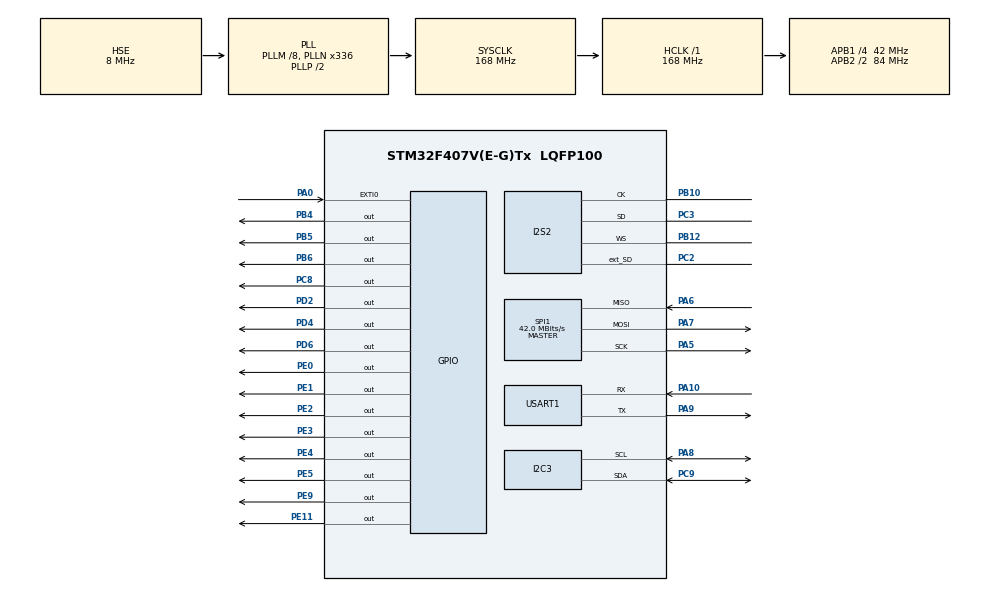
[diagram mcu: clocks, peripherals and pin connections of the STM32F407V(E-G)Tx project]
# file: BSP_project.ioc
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Dma.Request0=USART1_RX
Dma.USART1_RX.0.Direction=DMA_PERIPH_TO_MEMORY
Dma.USART1_RX.0.FIFOMode=DMA_FIFOMODE_DISABLE
Dma.USART1_RX.0.Instance=DMA2_Stream2
Dma.USART1_RX.0.MemDataAlignment=DMA_MDATAALIGN_BYTE
Dma.USART1_RX.0.MemInc=DMA_MINC_ENABLE
Dma.USART1_RX.0.Mode=DMA_CIRCULAR
Dma.USART1_RX.0.PeriphDataAlignment=DMA_PDATAALIGN_BYTE
Dma.USART1_RX.0.PeriphInc=DMA_PINC_DISABLE
Dma.USART1_RX.0.Priority=DMA_PRIORITY_VERY_HIGH
I2C3.I2C_Mode=I2C_Fast
I2S2.AudioFreq=I2S_AUDIOFREQ_16K
I2S2.CPOL=I2S_CPOL_HIGH
I2S2.ErrorAudioFreq=-0.79 %
I2S2.FullDuplexMode=I2S_FULLDUPLEXMODE_ENABLE
I2S2.Instance=SPI$Index
I2S2.Mode=I2S_MODE_MASTER_RX
I2S2.RealAudioFreq=15.873 KHz
I2S2.Standard=I2S_STANDARD_LSB
I2S2.VirtualMode=I2S_MODE_MASTER
Mcu.Family=STM32F4
Mcu.Name=STM32F407V(E-G)Tx
Mcu.Package=LQFP100
NVIC.DMA2_Stream2_IRQn=true\:0\:0\:false\:false\:true\:false\:true
NVIC.EXTI0_IRQn=true\:15\:0\:true\:false\:true\:true\:true
NVIC.PriorityGroup=NVIC_PRIORITYGROUP_4
NVIC.USART1_IRQn=true\:0\:0\:false\:false\:true\:true\:true
PA0-WKUP.Signal=GPXTI0
PA10.Mode=Asynchronous
PA10.Signal=USART1_RX
PA13.Mode=Trace_Asynchronous_SW
PA13.Signal=SYS_JTMS-SWDIO
PA14.Mode=Trace_Asynchronous_SW
PA14.Signal=SYS_JTCK-SWCLK
PA2.Signal=USART2_TX
PA3.Signal=USART2_RX
PA5.Mode=Full_Duplex_Master
PA5.Signal=SPI1_SCK
PA6.Mode=Full_Duplex_Master
PA6.Signal=SPI1_MISO
PA7.Mode=Full_Duplex_Master
PA7.Signal=SPI1_MOSI
PA8.Mode=I2C
PA8.Signal=I2C3_SCL
PA9.Mode=Asynchronous
PA9.Signal=USART1_TX
PB10.Mode=Full_Duplex_Master
PB10.Signal=I2S2_CK
PB12.Mode=Full_Duplex_Master
PB12.Signal=I2S2_WS
PB3.Mode=Trace_Asynchronous_SW
PB3.Signal=SYS_JTDO-SWO
PB4.GPIO_ModeDefaultOutputPP=GPIO_MODE_OUTPUT_PP
PB4.GPIO_PuPd=GPIO_NOPULL
PB4.GPIO_Speed=GPIO_SPEED_FREQ_HIGH
PB4.PinState=GPIO_PIN_RESET
PB4.Signal=GPIO_Output
PB5.GPIO_ModeDefaultOutputPP=GPIO_MODE_OUTPUT_PP
PB5.GPIO_PuPd=GPIO_NOPULL
PB5.GPIO_Speed=GPIO_SPEED_FREQ_HIGH
PB5.PinState=GPIO_PIN_RESET
PB5.Signal=GPIO_Output
PB6.GPIO_ModeDefaultOutputPP=GPIO_MODE_OUTPUT_PP
PB6.GPIO_PuPd=GPIO_NOPULL
PB6.GPIO_Speed=GPIO_SPEED_FREQ_HIGH
PB6.PinState=GPIO_PIN_RESET
PB6.Signal=GPIO_Output
PC2.Mode=Full_Duplex_Master
PC2.Signal=I2S2_ext_SD
PC3.Mode=Full_Duplex_Master
PC3.Signal=I2S2_SD
PC8.GPIO_Speed=GPIO_SPEED_FREQ_MEDIUM
PC8.Signal=GPIO_Output
PC9.Mode=I2C
PC9.Signal=I2C3_SDA
PD2.GPIO_Speed=GPIO_SPEED_FREQ_HIGH
PD2.Signal=GPIO_Output
PD4.GPIO_Speed=GPIO_SPEED_FREQ_HIGH
PD4.Signal=GPIO_Output
PD6.GPIO_Speed=GPIO_SPEED_FREQ_HIGH
PD6.Signal=GPIO_Output
PE0.GPIO_Speed=GPIO_SPEED_FREQ_VERY_HIGH
PE0.Signal=GPIO_Output
PE1.GPIO_Speed=GPIO_SPEED_FREQ_VERY_HIGH
PE1.Signal=GPIO_Output
PE11.GPIO_Speed=GPIO_SPEED_FREQ_HIGH
PE11.PinState=GPIO_PIN_RESET
PE11.Signal=GPIO_Output
PE2.GPIO_Speed=GPIO_SPEED_FREQ_VERY_HIGH
PE2.Signal=GPIO_Output
PE3.Signal=GPIO_Output
PE4.GPIO_Speed=GPIO_SPEED_FREQ_VERY_HIGH
PE4.Signal=GPIO_Output
PE5.GPIO_Speed=GPIO_SPEED_FREQ_VERY_HIGH
PE5.Signal=GPIO_Output
PE9.GPIO_Speed=GPIO_SPEED_FREQ_HIGH
PE9.PinState=GPIO_PIN_RESET
PE9.Signal=GPIO_Output
PH0-OSC_IN.Mode=HSE-External-Oscillator
PH0-OSC_IN.Signal=RCC_OSC_IN
PH1-OSC_OUT.Mode=HSE-External-Oscillator
PH1-OSC_OUT.Signal=RCC_OSC_OUT
ProjectManager.HeapSize=0x3000
ProjectManager.StackSize=0x9000
ProjectManager.TargetToolchain=MDK-ARM V5
RCC.48MHZClocksFreq_Value=84000000
RCC.AHBFreq_Value=168000000
RCC.APB1CLKDivider=RCC_HCLK_DIV4
RCC.APB1Freq_Value=42000000
RCC.APB1TimFreq_Value=84000000
RCC.APB2CLKDivider=RCC_HCLK_DIV2
RCC.APB2Freq_Value=84000000
RCC.APB2TimFreq_Value=168000000
RCC.CortexFreq_Value=168000000
RCC.HCLKFreq_Value=168000000
RCC.HSE_VALUE=8000000
RCC.HSI_VALUE=16000000
RCC.LSE_VALUE=32768
RCC.PLLI2SR=6
RCC.PLLM=8
RCC.PLLN=336
RCC.PLLSourceVirtual=RCC_PLLSOURCE_HSE
RCC.SYSCLKFreq_VALUE=168000000
RCC.SYSCLKSource=RCC_SYSCLKSOURCE_PLLCLK
RCC.VCOOutputFreq_Value=336000000
SPI1.CalculateBaudRate=42.0 MBits/s
SPI1.Direction=SPI_DIRECTION_2LINES
SPI1.Mode=SPI_MODE_MASTER
SPI1.VirtualType=VM_MASTER
USART1.VirtualMode=VM_ASYNC
board=custom

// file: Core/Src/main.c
/* USER CODE BEGIN Header */
/**
  ******************************************************************************
  * @file           : main.c
  * @brief          : Main program body
  ******************************************************************************
  * @attention
  *
  * <h2><center>&copy; Copyright (c) 2021 STMicroelectronics.
  * All rights reserved.</center></h2>
  *
  * This software component is licensed by ST under BSD 3-Clause license,
  * the "License"; You may not use this file except in compliance with the
  * License. You may obtain a copy of the License at:
  *                        opensource.org/licenses/BSD-3-Clause
  *
  ******************************************************************************
  */
/* USER CODE END Header */
#include "main.h"

/* USER CODE BEGIN PD */
#define DISTANCE 12.0f

/* USER CODE END PD */

I2C_HandleTypeDef hi2c3;

I2S_HandleTypeDef hi2s2;

SPI_HandleTypeDef hspi1;

UART_HandleTypeDef huart1;
DMA_HandleTypeDef hdma_usart1_rx;

/* USER CODE BEGIN PV */
__IO uint8_t UserPressButton = 0;

/* Wave Player Pause/Resume Status. Defined as external in waveplayer.c file */
__IO uint32_t PauseResumeStatus = IDLE_STATUS;

/* Counter for User button presses */
__IO uint32_t PressCount = 0;
float record[OUT_BUFFER_SIZE];
float distance[WORD_NUM];
uint8_t my_word;
unsigned char receive_data[6];
dsp_return isVoice, isPass, isFace;

uint32_t nbFrame;
extern const float Word[WORD_NUM][20 * CENTROID];
extern const float HamWindow[256];
extern const float MelFb[20 * 129];
extern const word_t word_id[WORD_NUM];
extern uint32_t AudioTotalSize;
extern const char word_string[][10];

/* USER CODE END PV */

void SystemClock_Config(void);
static void MX_GPIO_Init(void);
static void MX_DMA_Init(void);
static void MX_I2S2_Init(void);
static void MX_SPI1_Init(void);
static void MX_I2C3_Init(void);
static void MX_USART1_UART_Init(void);
/* USER CODE BEGIN PFP */
struct __FILE
{
  int handle;
  /* Whatever you require here. If the only file you are using is */
  /* standard output using printf() for debugging, no file handling */
  /* is required. */
};
/* USER CODE END PFP */

/* USER CODE BEGIN 0 */
int fputc(int ch, FILE *f)
{
  ITM_SendChar(ch); //send method for SWV
  return (ch);
}
/* USER CODE END 0 */

int main(void)
{

  /* MCU Configuration--------------------------------------------------------*/

  /* Reset of all peripherals, Initializes the Flash interface and the Systick. */
  HAL_Init();

  /* USER CODE BEGIN Init */
  BSP_LED_Init(LED3);
  BSP_LED_Init(LED4);
  BSP_LED_Init(LED5);
  BSP_LED_Init(LED6);

  //  MX_TIM1_Init();
  BSP_PB_Init(BUTTON_KEY, BUTTON_MODE_EXTI);
  //	HAL_TIM_PWM_Start (&htim1, TIM_CHANNEL_1);
  //  HAL_TIM_PWM_Start (&htim1, TIM_CHANNEL_2);
  //  HAL_TIM_PWM_Start (&htim1, TIM_CHANNEL_3);

  /* USER CODE END Init */

  /* Configure the system clock */
  SystemClock_Config();

  /* Initialize all configured peripherals */
  MX_GPIO_Init();
  MX_DMA_Init();
  MX_I2S2_Init();
  MX_SPI1_Init();
  MX_I2C3_Init();
  MX_USART1_UART_Init();
  /* USER CODE BEGIN 2 */
  /*init LCD16x2*/
  lcd16x2_init_4bits(GPIOE, GPIO_PIN_0, GPIO_PIN_1,
                     GPIOE, GPIO_PIN_2, GPIO_PIN_3, GPIO_PIN_4, GPIO_PIN_5);
  /*Uart DMA*/
  HAL_UART_Receive_DMA(&huart1, receive_data, 6);
  /*Audio init*/
  if (BSP_AUDIO_IN_Init(DEFAULT_AUDIO_IN_FREQ, DEFAULT_AUDIO_IN_BIT_RESOLUTION, DEFAULT_AUDIO_IN_CHANNEL_NBR) != AUDIO_OK)
  {
    /* Record Error */
    Error_Handler();
  }

  lcd16x2_setCursor(0, 3);
  lcd16x2_printf("DHBK TPHCM");
  lcd16x2_setCursor(1, 2);
  lcd16x2_printf("SYSTEM READY !");
  while (!UserPressButton)
  {
    blink_rgb();
  }
  toggle_leds_rgb(OFF1);
  toggle_leds_rgb(OFF2);
  /* USER CODE END 2 */

  /* Infinite loop */
  while (1)
  {

    /* USER CODE BEGIN 3 */

    UserPressButton = 0;
    lcd16x2_clear();
    lcd16x2_setCursor(0, 2);
    lcd16x2_printf("Recording ...");
    toggle_leds_rgb(OFF1);
    toggle_leds_rgb(OFF2);

    my_word = voice_recognition(distance, DISTANCE * 2, record, &isVoice, &isPass);
    Off_Leds();
    //lcd16x2_clear();
    lcd16x2_setCursor(0, 1);
    lcd16x2_printf("Number: ");
    lcd16x2_setCursor(0, 9);
    lcd16x2_printf(word_string[my_word]);
    /* Toggle LEDs between each Test */
    UserPressButton = 0;

    /*Wait Face security step*/
    while (1)
    {
      if (isFace == DSP_ERROR)
      {
        lcd16x2_clear();
        lcd16x2_setCursor(0, 3);
        lcd16x2_printf("WRONG FACE!");
        lcd16x2_setCursor(1, 0);
        lcd16x2_printf("PLEASE TRY AGAIN");
        while (isFace == DSP_ERROR)
        {
          HAL_Delay(10);
        }
      }
      else if (isFace == DSP_OK)
      {
        break;
      }
      //      HAL_Delay(10);
    };
    //if (isFace != DSP_UNKNOWN) break;

    /*3 step security*/
    if ((isVoice == DSP_OK) && (isPass == DSP_OK) && (isFace == DSP_OK))
    {
      //HAL_GPIO_TogglePin(GPIOD, GPIO_PIN_15);
      lcd16x2_clear();
      lcd16x2_setCursor(0, 1);
      lcd16x2_printf("ACCESS GRANTED!");
      lcd16x2_setCursor(1, 2);
      lcd16x2_printf("Welcome Dat!");
      toggle_relay(RELAY_ON);
    }
    else
    {
      //HAL_GPIO_TogglePin(GPIOD, GPIO_PIN_14);
      lcd16x2_clear();
      lcd16x2_setCursor(0, 3);
      lcd16x2_printf("TRY AGAIN!");
    }
    /*****************************/
    while (!UserPressButton)
    {
      /* code */
    }

    //    Off_Leds();
  }
  /* USER CODE END 3 */
}

void SystemClock_Config(void)
{
  RCC_OscInitTypeDef RCC_OscInitStruct = {0};
  RCC_ClkInitTypeDef RCC_ClkInitStruct = {0};
  RCC_PeriphCLKInitTypeDef PeriphClkInitStruct = {0};

  /** Configure the main internal regulator output voltage
  */
  __HAL_RCC_PWR_CLK_ENABLE();
  __HAL_PWR_VOLTAGESCALING_CONFIG(PWR_REGULATOR_VOLTAGE_SCALE1);
  /** Initializes the RCC Oscillators according to the specified parameters
  * in the RCC_OscInitTypeDef structure.
  */
  RCC_OscInitStruct.OscillatorType = RCC_OSCILLATORTYPE_HSE;
  RCC_OscInitStruct.HSEState = RCC_HSE_ON;
  RCC_OscInitStruct.PLL.PLLState = RCC_PLL_ON;
  RCC_OscInitStruct.PLL.PLLSource = RCC_PLLSOURCE_HSE;
  RCC_OscInitStruct.PLL.PLLM = 8;
  RCC_OscInitStruct.PLL.PLLN = 336;
  RCC_OscInitStruct.PLL.PLLP = RCC_PLLP_DIV2;
  RCC_OscInitStruct.PLL.PLLQ = 4;
  if (HAL_RCC_OscConfig(&RCC_OscInitStruct) != HAL_OK)
  {
    Error_Handler();
  }
  /** Initializes the CPU, AHB and APB buses clocks
  */
  RCC_ClkInitStruct.ClockType = RCC_CLOCKTYPE_HCLK | RCC_CLOCKTYPE_SYSCLK | RCC_CLOCKTYPE_PCLK1 | RCC_CLOCKTYPE_PCLK2;
  RCC_ClkInitStruct.SYSCLKSource = RCC_SYSCLKSOURCE_PLLCLK;
  RCC_ClkInitStruct.AHBCLKDivider = RCC_SYSCLK_DIV1;
  RCC_ClkInitStruct.APB1CLKDivider = RCC_HCLK_DIV4;
  RCC_ClkInitStruct.APB2CLKDivider = RCC_HCLK_DIV2;

  if (HAL_RCC_ClockConfig(&RCC_ClkInitStruct, FLASH_LATENCY_5) != HAL_OK)
  {
    Error_Handler();
  }
  PeriphClkInitStruct.PeriphClockSelection = RCC_PERIPHCLK_I2S;
  PeriphClkInitStruct.PLLI2S.PLLI2SN = 192;
  PeriphClkInitStruct.PLLI2S.PLLI2SR = 6;
  if (HAL_RCCEx_PeriphCLKConfig(&PeriphClkInitStruct) != HAL_OK)
  {
    Error_Handler();
  }
}

static void MX_I2C3_Init(void)
{

  hi2c3.Instance = I2C3;
  hi2c3.Init.ClockSpeed = 400000;
  hi2c3.Init.DutyCycle = I2C_DUTYCYCLE_2;
  hi2c3.Init.OwnAddress1 = 0;
  hi2c3.Init.AddressingMode = I2C_ADDRESSINGMODE_7BIT;
  hi2c3.Init.DualAddressMode = I2C_DUALADDRESS_DISABLE;
  hi2c3.Init.OwnAddress2 = 0;
  hi2c3.Init.GeneralCallMode = I2C_GENERALCALL_DISABLE;
  hi2c3.Init.NoStretchMode = I2C_NOSTRETCH_DISABLE;
  if (HAL_I2C_Init(&hi2c3) != HAL_OK)
  {
    Error_Handler();
  }
}

static void MX_I2S2_Init(void)
{

  hi2s2.Instance = SPI2;
  hi2s2.Init.Mode = I2S_MODE_MASTER_RX;
  hi2s2.Init.Standard = I2S_STANDARD_LSB;
  hi2s2.Init.DataFormat = I2S_DATAFORMAT_16B;
  hi2s2.Init.MCLKOutput = I2S_MCLKOUTPUT_DISABLE;
  hi2s2.Init.AudioFreq = I2S_AUDIOFREQ_16K;
  hi2s2.Init.CPOL = I2S_CPOL_HIGH;
  hi2s2.Init.ClockSource = I2S_CLOCK_PLL;
  hi2s2.Init.FullDuplexMode = I2S_FULLDUPLEXMODE_ENABLE;
  if (HAL_I2S_Init(&hi2s2) != HAL_OK)
  {
    Error_Handler();
  }
}

static void MX_SPI1_Init(void)
{

  /* SPI1 parameter configuration*/
  hspi1.Instance = SPI1;
  hspi1.Init.Mode = SPI_MODE_MASTER;
  hspi1.Init.Direction = SPI_DIRECTION_2LINES;
  hspi1.Init.DataSize = SPI_DATASIZE_8BIT;
  hspi1.Init.CLKPolarity = SPI_POLARITY_LOW;
  hspi1.Init.CLKPhase = SPI_PHASE_1EDGE;
  hspi1.Init.NSS = SPI_NSS_SOFT;
  hspi1.Init.BaudRatePrescaler = SPI_BAUDRATEPRESCALER_2;
  hspi1.Init.FirstBit = SPI_FIRSTBIT_MSB;
  hspi1.Init.TIMode = SPI_TIMODE_DISABLE;
  hspi1.Init.CRCCalculation = SPI_CRCCALCULATION_DISABLE;
  hspi1.Init.CRCPolynomial = 10;
  if (HAL_SPI_Init(&hspi1) != HAL_OK)
  {
    Error_Handler();
  }
}

static void MX_USART1_UART_Init(void)
{

  huart1.Instance = USART1;
  huart1.Init.BaudRate = 115200;
  huart1.Init.WordLength = UART_WORDLENGTH_8B;
  huart1.Init.StopBits = UART_STOPBITS_1;
  huart1.Init.Parity = UART_PARITY_NONE;
  huart1.Init.Mode = UART_MODE_TX_RX;
  huart1.Init.HwFlowCtl = UART_HWCONTROL_NONE;
  huart1.Init.OverSampling = UART_OVERSAMPLING_16;
  if (HAL_UART_Init(&huart1) != HAL_OK)
  {
    Error_Handler();
  }
}

static void MX_DMA_Init(void)
{

  /* DMA controller clock enable */
  __HAL_RCC_DMA2_CLK_ENABLE();

  /* DMA interrupt init */
  /* DMA2_Stream2_IRQn interrupt configuration */
  HAL_NVIC_SetPriority(DMA2_Stream2_IRQn, 0, 0);
  HAL_NVIC_EnableIRQ(DMA2_Stream2_IRQn);
}

static void MX_GPIO_Init(void)
{
  GPIO_InitTypeDef GPIO_InitStruct = {0};

  /* GPIO Ports Clock Enable */
  __HAL_RCC_GPIOE_CLK_ENABLE();
  __HAL_RCC_GPIOH_CLK_ENABLE();
  __HAL_RCC_GPIOC_CLK_ENABLE();
  __HAL_RCC_GPIOA_CLK_ENABLE();
  __HAL_RCC_GPIOB_CLK_ENABLE();
  __HAL_RCC_GPIOD_CLK_ENABLE();

  /*Configure GPIO pin Output Level */
  HAL_GPIO_WritePin(GPIOE, GPIO_PIN_2 | GPIO_PIN_3 | GPIO_PIN_4 | GPIO_PIN_5 | GPIO_PIN_9 | GPIO_PIN_11 | GPIO_PIN_0 | GPIO_PIN_1, GPIO_PIN_RESET);

  /*Configure GPIO pin Output Level */
  HAL_GPIO_WritePin(GPIOC, GPIO_PIN_8, GPIO_PIN_RESET);

  /*Configure GPIO pin Output Level */
  HAL_GPIO_WritePin(GPIOD, GPIO_PIN_2 | GPIO_PIN_4 | GPIO_PIN_6, GPIO_PIN_RESET);

  /*Configure GPIO pin Output Level */
  HAL_GPIO_WritePin(GPIOB, GPIO_PIN_4 | GPIO_PIN_5 | GPIO_PIN_6, GPIO_PIN_RESET);

  /*Configure GPIO pins : PE2 PE4 PE5 PE0
                           PE1 */
  GPIO_InitStruct.Pin = GPIO_PIN_2 | GPIO_PIN_4 | GPIO_PIN_5 | GPIO_PIN_0 | GPIO_PIN_1;
  GPIO_InitStruct.Mode = GPIO_MODE_OUTPUT_PP;
  GPIO_InitStruct.Pull = GPIO_NOPULL;
  GPIO_InitStruct.Speed = GPIO_SPEED_FREQ_VERY_HIGH;
  HAL_GPIO_Init(GPIOE, &GPIO_InitStruct);

  /*Configure GPIO pin : PE3 */
  GPIO_InitStruct.Pin = GPIO_PIN_3;
  GPIO_InitStruct.Mode = GPIO_MODE_OUTPUT_PP;
  GPIO_InitStruct.Pull = GPIO_NOPULL;
  GPIO_InitStruct.Speed = GPIO_SPEED_FREQ_LOW;
  HAL_GPIO_Init(GPIOE, &GPIO_InitStruct);

  /*Configure GPIO pin : PA0 */
  GPIO_InitStruct.Pin = GPIO_PIN_0;
  GPIO_InitStruct.Mode = GPIO_MODE_IT_RISING;
  GPIO_InitStruct.Pull = GPIO_NOPULL;
  HAL_GPIO_Init(GPIOA, &GPIO_InitStruct);

  /*Configure GPIO pins : PA2 PA3 */
  GPIO_InitStruct.Pin = GPIO_PIN_2 | GPIO_PIN_3;
  GPIO_InitStruct.Mode = GPIO_MODE_AF_PP;
  GPIO_InitStruct.Pull = GPIO_NOPULL;
  GPIO_InitStruct.Speed = GPIO_SPEED_FREQ_VERY_HIGH;
  GPIO_InitStruct.Alternate = GPIO_AF7_USART2;
  HAL_GPIO_Init(GPIOA, &GPIO_InitStruct);

  /*Configure GPIO pins : PE9 PE11 */
  GPIO_InitStruct.Pin = GPIO_PIN_9 | GPIO_PIN_11;
  GPIO_InitStruct.Mode = GPIO_MODE_OUTPUT_PP;
  GPIO_InitStruct.Pull = GPIO_NOPULL;
  GPIO_InitStruct.Speed = GPIO_SPEED_FREQ_HIGH;
  HAL_GPIO_Init(GPIOE, &GPIO_InitStruct);

  /*Configure GPIO pin : PC8 */
  GPIO_InitStruct.Pin = GPIO_PIN_8;
  GPIO_InitStruct.Mode = GPIO_MODE_OUTPUT_PP;
  GPIO_InitStruct.Pull = GPIO_NOPULL;
  GPIO_InitStruct.Speed = GPIO_SPEED_FREQ_MEDIUM;
  HAL_GPIO_Init(GPIOC, &GPIO_InitStruct);

  /*Configure GPIO pins : PD2 PD4 PD6 */
  GPIO_InitStruct.Pin = GPIO_PIN_2 | GPIO_PIN_4 | GPIO_PIN_6;
  GPIO_InitStruct.Mode = GPIO_MODE_OUTPUT_PP;
  GPIO_InitStruct.Pull = GPIO_NOPULL;
  GPIO_InitStruct.Speed = GPIO_SPEED_FREQ_HIGH;
  HAL_GPIO_Init(GPIOD, &GPIO_InitStruct);

  /*Configure GPIO pins : PB4 PB5 PB6 */
  GPIO_InitStruct.Pin = GPIO_PIN_4 | GPIO_PIN_5 | GPIO_PIN_6;
  GPIO_InitStruct.Mode = GPIO_MODE_OUTPUT_PP;
  GPIO_InitStruct.Pull = GPIO_NOPULL;
  GPIO_InitStruct.Speed = GPIO_SPEED_FREQ_HIGH;
  HAL_GPIO_Init(GPIOB, &GPIO_InitStruct);

  /* EXTI interrupt init*/
  HAL_NVIC_SetPriority(EXTI0_IRQn, 15, 0);
  HAL_NVIC_EnableIRQ(EXTI0_IRQn);
}

/* USER CODE BEGIN 4 */
/**
  * @brief  EXTI line detection callbacks.
  * @param  GPIO_Pin: Specifies the pins connected EXTI line
  * @retval None
  */

void HAL_GPIO_EXTI_Callback(uint16_t GPIO_Pin)
{
  static uint32_t last_tick = 0;
  if (KEY_BUTTON_PIN == GPIO_Pin)
  {
    if ((HAL_GetTick() - last_tick) > 10)
    {
      last_tick = HAL_GetTick();
      while (BSP_PB_GetState(BUTTON_KEY) != RESET)
      {
      };
      UserPressButton = 1;
    }
  }
}

//void HAL_GPIO_EXTI_Callback(uint16_t GPIO_Pin)
//{
//if (KEY_BUTTON_PIN == GPIO_Pin)
//{
//while (BSP_PB_GetState(BUTTON_KEY) != RESET)
//;
//UserPressButton = 1;
//}
//}
/**
  * @brief  Toggle LEDs
  * @param  None
  * @retval None
  */
void Toggle_Leds(void)
{
  BSP_LED_Toggle(LED3);
  HAL_Delay(100);
  BSP_LED_Toggle(LED4);
  HAL_Delay(100);
  BSP_LED_Toggle(LED5);
  HAL_Delay(100);
  BSP_LED_Toggle(LED6);
  HAL_Delay(100);
}

void toggle_leds_rgb(led_t color)
{
  switch (color)
  {
    /*LED RGB 1*/
  case RED1 /* constant-expression */:
    toggle_leds_rgb(OFF1);
    HAL_GPIO_WritePin(GPIOD, GPIO_PIN_6, 1);
    break;
  case GREEN1:
    toggle_leds_rgb(OFF1);
    HAL_GPIO_WritePin(GPIOD, GPIO_PIN_4, 1);
    break;
  case BLUE1:
    toggle_leds_rgb(OFF1);
    HAL_GPIO_WritePin(GPIOD, GPIO_PIN_2, 1);
    break;
  case YELLOW1:
    toggle_leds_rgb(OFF1);
    HAL_GPIO_WritePin(GPIOD, GPIO_PIN_6 | GPIO_PIN_4, 1);
    break;
  case OFF1:
    HAL_GPIO_WritePin(GPIOD, GPIO_PIN_6 | GPIO_PIN_4 | GPIO_PIN_2, 0);
    break;

    /*LED RGB 2*/
  case RED2 /* constant-expression */:
    toggle_leds_rgb(OFF2);
    HAL_GPIO_WritePin(GPIOB, GPIO_PIN_6, 1);
    break;
  case GREEN2:
    toggle_leds_rgb(OFF2);
    HAL_GPIO_WritePin(GPIOB, GPIO_PIN_5, 1);
    break;
  case BLUE2:
    toggle_leds_rgb(OFF2);
    HAL_GPIO_WritePin(GPIOB, GPIO_PIN_4, 1);
    break;
  case YELLOW2:
    toggle_leds_rgb(OFF2);
    HAL_GPIO_WritePin(GPIOB, GPIO_PIN_6 | GPIO_PIN_5, 1);
    break;
  case OFF2:
    HAL_GPIO_WritePin(GPIOB, GPIO_PIN_6 | GPIO_PIN_5 | GPIO_PIN_4, 0);
    break;
  default:
    break;
  }
}

void Off_Leds(void)
{
  BSP_LED_Off(LED3);
  BSP_LED_Off(LED4);
  BSP_LED_Off(LED5);
  BSP_LED_Off(LED6);
}

void blink_rgb(void)
{
  toggle_leds_rgb(RED1);
  toggle_leds_rgb(RED2);
  HAL_Delay(200);

  toggle_leds_rgb(GREEN1);
  toggle_leds_rgb(GREEN2);
  HAL_Delay(200);

  toggle_leds_rgb(BLUE1);
  toggle_leds_rgb(BLUE2);
  HAL_Delay(200);
}

void HAL_UART_RxCpltCallback(UART_HandleTypeDef *huart)
{
  if (huart->Instance == USART1)
  {
    if ((receive_data[0] == 'F') && (receive_data[1] == 'A') && (receive_data[2] == 'C') && (receive_data[3] == 'E') && (receive_data[4] == 'O') && (receive_data[5] == 'K'))
    {
      //HAL_GPIO_TogglePin(GPIOD, GPIO_PIN_13);
      toggle_leds_rgb(GREEN2);
      isFace = DSP_OK;
    }
    else if ((receive_data[0] == 'F') && (receive_data[1] == 'E') && (receive_data[2] == 'R') && (receive_data[3] == 'R') && (receive_data[4] == 'O') && (receive_data[5] == 'R'))
    {
      //HAL_GPIO_TogglePin(GPIOD, GPIO_PIN_14);
      toggle_leds_rgb(RED2);
      isFace = DSP_ERROR;
    }
    else
    {
      isFace = DSP_UNKNOWN;
    }
  }
}

void toggle_relay(relay_t relay)
{
  switch (relay)
  {
  case RELAY_ON /* constant-expression */:
    HAL_GPIO_WritePin(GPIOC, GPIO_PIN_8, 1);
    HAL_Delay(2000);
    HAL_GPIO_WritePin(GPIOC, GPIO_PIN_8, 0);
    break;
  case RELAY_OFF:
    HAL_GPIO_WritePin(GPIOC, GPIO_PIN_8, 0);
    break;
  default:
    break;
  }
}

/* USER CODE END 4 */

void Error_Handler(void)
{
  /* USER CODE BEGIN Error_Handler_Debug */
  /* User can add his own implementation to report the HAL error return state */
  /* Turn LED5 on */
  BSP_LED_On(LED5);
  while (1)
  {
  }

  /* USER CODE END Error_Handler_Debug */
}

/************************ (C) COPYRIGHT STMicroelectronics *****END OF FILE****/
